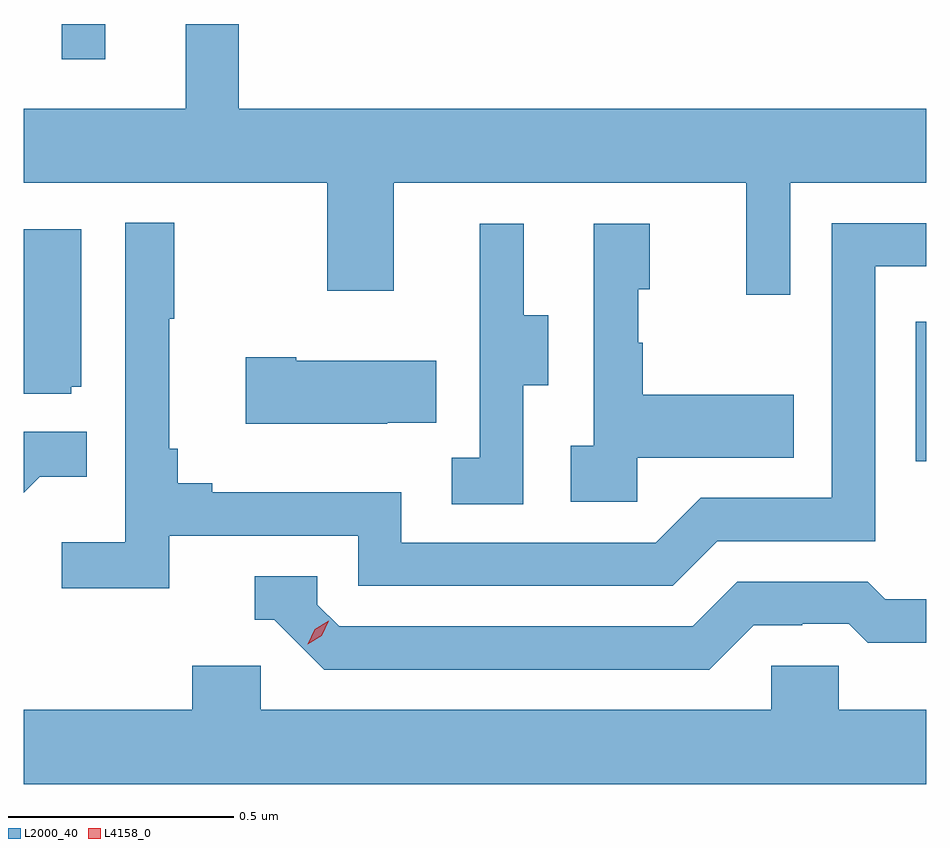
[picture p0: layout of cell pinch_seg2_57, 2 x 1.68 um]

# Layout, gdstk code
import gdstk
lib = gdstk.Library(unit=1e-6, precision=1e-09)
def R(c, l, rs):  # rectangles x0, y0, x1, y1
    for r in rs: c.add(gdstk.rectangle(r[:2], r[2:], *l))
def P(c, l, *ps):  # polygons
    for p in ps: c.add(gdstk.Polygon(p, *l))
L2000_40 = (2000, 40)
L4158_0 = (4158, 0)

pinch_seg2_57 = lib.new_cell('pinch_seg2_57')
R(pinch_seg2_57, L2000_40, [(1067.562,664.335,1067.585,664.644), (1065.669,665.226,1065.766,665.304)])
P(pinch_seg2_57, L2000_40, [(1067.283,664.952),(1067.585,664.952),(1067.585,665.116),(1066.061,665.116),(1066.061,665.304),(1065.944,665.304),(1065.944,665.116),(1065.585,665.116),(1065.585,664.952),(1066.258,664.952),(1066.258,664.713),(1066.405,664.713),(1066.405,664.952),(1067.186,664.952),(1067.186,664.704),(1067.283,664.704)],
  [(1065.908,664.17),(1066.326,664.17),(1066.326,664.059),(1067.023,664.059),(1067.122,664.158),(1067.472,664.158),(1067.472,664.767),(1067.585,664.767),(1067.585,664.863),(1067.376,664.863),(1067.376,664.254),(1067.085,664.254),(1066.986,664.155),(1066.422,664.155),(1066.422,664.267),(1066.003,664.267),(1066.003,664.286),(1065.926,664.286),(1065.926,664.363),(1065.907,664.363),(1065.907,664.651),(1065.919,664.651),(1065.919,664.864),(1065.81,664.864),(1065.81,664.156),(1065.669,664.156),(1065.669,664.054),(1065.908,664.054)],
  [(1066.944,664.343),(1067.291,664.343),(1067.291,664.483),(1066.957,664.483),(1066.957,664.598),(1066.947,664.598),(1066.947,664.716),(1066.972,664.716),(1066.972,664.861),(1066.848,664.861),(1066.848,664.37),(1066.797,664.37),(1066.797,664.245),(1066.944,664.245)],
  [(1066.692,664.504),(1066.747,664.504),(1066.747,664.659),(1066.693,664.659),(1066.693,664.861),(1066.595,664.861),(1066.595,664.647),(1066.596,664.647),(1066.596,664.343),(1066.533,664.343),(1066.533,664.24),(1066.692,664.24)],
  [(1065.69,664.5),(1065.712,664.5),(1065.712,664.849),(1065.585,664.849),(1065.585,664.485),(1065.69,664.485)],
  [(1066.391,664.421),(1066.499,664.421),(1066.499,664.558),(1066.189,664.558),(1066.189,664.566),(1066.077,664.566),(1066.077,664.418),(1066.391,664.418)],
  [(1065.621,664.301),(1065.725,664.301),(1065.725,664.4),(1065.585,664.4),(1065.585,664.265)],
  [(1067.203,663.972),(1067.31,663.972),(1067.31,663.975),(1067.413,663.975),(1067.455,663.933),(1067.585,663.933),(1067.585,664.029),(1067.494,664.029),(1067.455,664.068),(1067.166,664.068),(1067.067,663.969),(1066.284,663.969),(1066.236,664.017),(1066.236,664.08),(1066.097,664.08),(1066.097,663.984),(1066.14,663.984),(1066.251,663.873),(1067.104,663.873)],
  [(1067.585,663.784),(1067.391,663.784),(1067.391,663.882),(1067.241,663.882),(1067.241,663.784),(1066.11,663.784),(1066.11,663.882),(1065.959,663.882),(1065.959,663.784),(1065.585,663.784),(1065.585,663.62),(1067.585,663.62)])
P(pinch_seg2_57, L4158_0, [(1066.214,663.93),(1066.214,663.93),(1066.23,663.963),(1066.261,663.982),(1066.261,663.982),(1066.261,663.982),(1066.245,663.949),(1066.214,663.93)])

lib.write_gds('pinch_seg2_57.gds')
